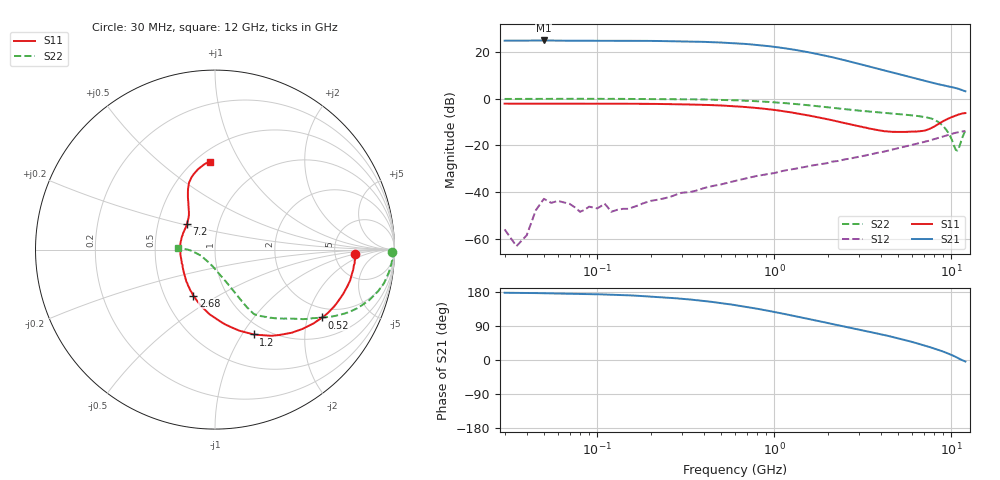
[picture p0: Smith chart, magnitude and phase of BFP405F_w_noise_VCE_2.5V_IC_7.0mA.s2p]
! Infineon Technologies  Discrete & RF Semiconductors
! BFP405F
! VCE =  2.5 V,  IC =  7.0 mA
! Common Emitter S-Parameters:  Nov 2015
# GHz  S  MA  R  50
!  f  S11  S21  S12  S22
! GHz  MAG  ANG  MAG  ANG  MAG  ANG  MAG  ANG
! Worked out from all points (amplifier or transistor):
!   239 points, 30 MHz to 12 GHz, reference 50 ohm
!   highest |S21| = 24.9 dB at 50 MHz (marker M1)
!   |S21| within 3 dB of that: start of sweep to 1.064 GHz
!   unconditionally stable (mu >= 1): 39.90521 MHz to 40.01786 MHz; 2.606 GHz to end of sweep
!   at 300 MHz: K = 0.09, MSG = 32.4 dB, |S12| = -40.3 dB
!   at 1.88 GHz: K = 0.79, MSG = 23.2 dB, |S12| = -27.9 dB
!   at 12 GHz: K = 1.42, MAG = 4.6 dB, |S12| = -13.8 dB
!   lowest NFmin = 1.45 dB at 450 MHz
!   S11 on the Smith chart (normalised r, x): 30 MHz: 7.99, -0.95; 520 MHz: 1.64, -2.48; 1.2 GHz: 0.87, -1.13; 2.68 GHz: 0.70, -0.39; 7.2 GHz: 0.70, +0.21; 12 GHz: 0.59, +0.76
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0.03  0.7803 -1.7  17.33 177.4  0.0016 127.4  0.984 -0.7
0.035  0.7803 -2.1  17.34 177.2  0.0007 81.8  0.9857 -0.8
0.04  0.7804 -2.5  17.35 177.1  0.0012 9.4  0.9874 -0.9
0.05  0.7809 -4.0  17.51 176.2  0.0072 49.1  0.9943 -1.5
0.085  0.7815 -5.4  17.27 174.2  0.0042 79.4  0.9897 -2.3
0.14  0.776 -9.2  17.23 171.5  0.0044 94.6  0.9871 -3.9
0.24  0.7652 -15.5  16.96 165.1  0.0074 81.0  0.9784 -6.9
0.38  0.7396 -24.2  16.41 157.0  0.0114 78.1  0.9618 -10.8
0.52  0.7072 -32.3  15.68 149.3  0.0152 78.1  0.9361 -14.5
0.6  0.6856 -36.9  15.24 144.9  0.0174 77.2  0.9203 -16.3
0.7  0.658 -42.2  14.69 140.1  0.0199 73.3  0.9005 -18.5
0.9  0.6007 -52.2  13.43 130.8  0.024 70.0  0.8561 -22.5
1.2  0.5196 -65.5  11.62 119.4  0.0299 66.4  0.7908 -27.2
1.64  0.4212 -82.1  9.439 106.3  0.0372 64.2  0.7083 -32.3
2.18  0.3361 -100.5  7.492 93.8  0.0455 61.1  0.6301 -37.9
2.68  0.2829 -115.2  6.19 85.0  0.0522 60.5  0.5783 -41.7
3.4  0.2315 -134.8  4.911 74.8  0.0629 58.5  0.5305 -46.4
4.5  0.1966 -162.3  3.725 62.5  0.079 56.0  0.4863 -51.2
7.2  0.2115 137.4  2.35 36.9  0.1217 47.4  0.3984 -59.7
9  0.3305 117.2  1.924 22.1  0.155 39.7  0.2575 -65.5
10.8  0.4461 103.9  1.644 6.0  0.1891 28.9  0.0773 -137.0
12  0.4905 93.3  1.432 -4.0  0.2035 22.3  0.2073 177.5
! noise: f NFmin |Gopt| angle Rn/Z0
0.45  1.45  0.3  6  0.34
0.9  1.46  0.28  11  0.34
1.5  1.52  0.26  16  0.3
1.9  1.56  0.24  24  0.3
2.4  1.71  0.23  32  0.32
3  1.77  0.21  45  0.29
3.5  1.82  0.19  53  0.28
4.5  1.97  0.15  59  0.2
5.5  2.17  0.08  66  0.07
